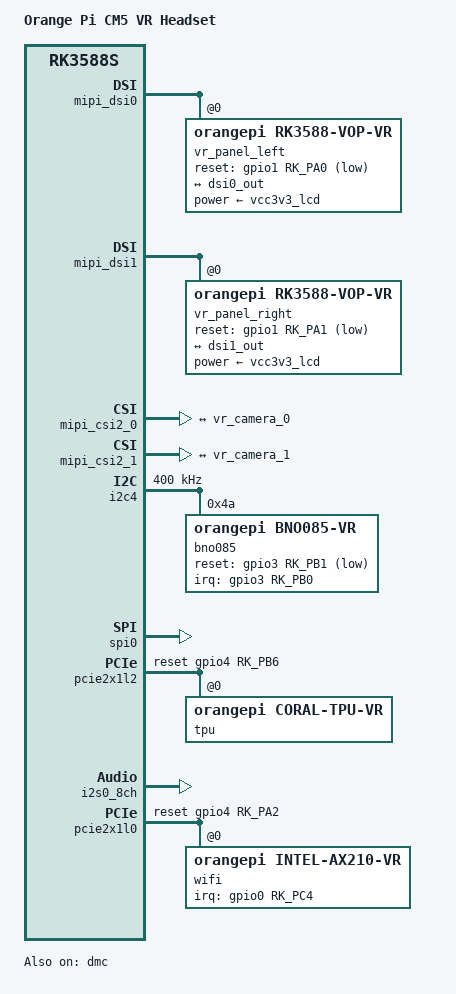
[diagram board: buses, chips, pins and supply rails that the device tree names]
// SPDX-License-Identifier: (GPL-2.0+ OR MIT)
/*
 * Copyright (c) 2025 VR Headset Project
 * Based on Orange Pi CM5 device tree
 */

#include "rk3588s-orangepi-cm5.dtsi"

/ {
    model = "Orange Pi CM5 VR Headset";
    compatible = "orangepi,cm5-vr", "rockchip,rk3588s";

    // VR-specific memory reservations
    reserved-memory {
        #address-cells = <2>;
        #size-cells = <2>;
        ranges;

        // TPU DMA buffer
        tpu_reserved: tpu@f0000000 {
            reg = <0x0 0xf0000000 0x0 0x08000000>; // 128MB
            no-map;
        };

        // Camera frame buffers
        camera_reserved: camera@f8000000 {
            reg = <0x0 0xf8000000 0x0 0x04000000>; // 64MB
            no-map;
        };
    };

    // VR display configuration
    vr_displays {
        compatible = "vr,dual-display";
        display-left = <&mipi_dsi0>;
        display-right = <&mipi_dsi1>;
        sync-mode = "master-slave";
    };
};

// Configure MIPI DSI for dual displays
&mipi_dsi0 {
    status = "okay";
    #address-cells = <1>;
    #size-cells = <0>;

    vr_panel_left: panel@0 {
        compatible = "orangepi,rk3588-vop-vr";
        reg = <0>;
        reset-gpios = <&gpio1 RK_PA0 GPIO_ACTIVE_LOW>;
        power-supply = <&vcc3v3_lcd>;
        
        port {
            panel_left_in: endpoint {
                remote-endpoint = <&dsi0_out>;
            };
        };
    };
};

&mipi_dsi1 {
    status = "okay";
    #address-cells = <1>;
    #size-cells = <0>;

    vr_panel_right: panel@0 {
        compatible = "orangepi,rk3588-vop-vr";
        reg = <0>;
        reset-gpios = <&gpio1 RK_PA1 GPIO_ACTIVE_LOW>;
        power-supply = <&vcc3v3_lcd>;
        
        port {
            panel_right_in: endpoint {
                remote-endpoint = <&dsi1_out>;
            };
        };
    };
};

// Camera interfaces
&mipi_csi2_0 {
    status = "okay";
    ports {
        port@1 {
            reg = <1>;
            csi2_0_out: endpoint {
                remote-endpoint = <&vr_camera_0>;
                data-lanes = <1 2>;
            };
        };
    };
};

&mipi_csi2_1 {
    status = "okay";
    ports {
        port@1 {
            reg = <1>;
            csi2_1_out: endpoint {
                remote-endpoint = <&vr_camera_1>;
                data-lanes = <1 2>;
            };
        };
    };
};

// I2C for IMU and other sensors
&i2c4 {
    status = "okay";
    clock-frequency = <400000>;

    bno085: imu@4a {
        compatible = "orangepi,bno085-vr";
        reg = <0x4a>;
        interrupt-parent = <&gpio3>;
        interrupts = <RK_PB0 IRQ_TYPE_EDGE_FALLING>;
        reset-gpios = <&gpio3 RK_PB1 GPIO_ACTIVE_LOW>;
        vr,mode-enabled;
        vr,sampling-rate-hz = <1000>;
    };
};

// SPI for high-speed sensors if needed
&spi0 {
    status = "okay";
    max-freq = <48000000>;
    
    // Additional sensors can be added here
};

// PCIe for Coral TPU (M.2 interface)
&pcie2x1l2 {
    status = "okay";
    reset-gpios = <&gpio4 RK_PB6 GPIO_ACTIVE_HIGH>;
    vpcie-supply = <&vcc3v3_pcie20>;
    
    pcie@0 {
        reg = <0x00000000 0 0 0 0>;
        #address-cells = <3>;
        #size-cells = <2>;
        
        tpu@0,0 {
            compatible = "orangepi,coral-tpu-vr";
            reg = <0x000000 0 0 0 0>;
            memory-region = <&tpu_reserved>;
            vr,mode-enabled;
            vr,latency-target-ms = <5>;
            vr,buffer-size-kb = <4096>;
            vr,zero-copy-enabled;
            vr,performance-mode;
            vr,inference-priority = <90>;
        };
    };
};

// Audio configuration
&i2s0_8ch {
    status = "okay";
    rockchip,playback-channels = <2>;
    rockchip,capture-channels = <4>; // 4-mic array
};

// Power management
&rk806_single {
    // VR-specific power rail configuration
    vcc_3v3_lcd: PLDO_REG2 {
        regulator-always-on;
        regulator-boot-on;
        regulator-min-microvolt = <3300000>;
        regulator-max-microvolt = <3300000>;
        regulator-name = "vcc_3v3_lcd";
    };
};

// Camera nodes
vr_camera_0: vr-camera@0 {
    compatible = "orangepi,ov9281-vr";
    reg = <0x60>;
    clocks = <&cru CLK_MIPI_CAMARAOUT_M1>;
    clock-names = "xvclk";
    power-domains = <&power RK3588_PD_VI>;
    pinctrl-names = "default";
    pinctrl-0 = <&mipim1_camera1_clk>;
    reset-gpios = <&gpio1 RK_PB2 GPIO_ACTIVE_LOW>;
    pwdn-gpios = <&gpio1 RK_PB3 GPIO_ACTIVE_HIGH>;
    rockchip,camera-module-index = <0>;
    rockchip,camera-module-facing = "front";
    rockchip,camera-module-name = "VR-Camera-Left";
    rockchip,camera-module-lens-name = "VR-Lens";
    vr,mode-enabled;
    vr,frame-rate = <90>;
    vr,exposure-time-us = <5000>;
    vr,zero-copy-enabled;
    port {
        vr_camera_0_out: endpoint {
            remote-endpoint = <&csi2_0_out>;
            data-lanes = <1 2>;
        };
    };
};

vr_camera_1: vr-camera@1 {
    compatible = "orangepi,ov9281-vr";
    reg = <0x61>;
    clocks = <&cru CLK_MIPI_CAMARAOUT_M2>;
    clock-names = "xvclk";
    power-domains = <&power RK3588_PD_VI>;
    pinctrl-names = "default";
    pinctrl-0 = <&mipim2_camera1_clk>;
    reset-gpios = <&gpio1 RK_PB4 GPIO_ACTIVE_LOW>;
    pwdn-gpios = <&gpio1 RK_PB5 GPIO_ACTIVE_HIGH>;
    rockchip,camera-module-index = <1>;
    rockchip,camera-module-facing = "front";
    rockchip,camera-module-name = "VR-Camera-Right";
    rockchip,camera-module-lens-name = "VR-Lens";
    vr,mode-enabled;
    vr,frame-rate = <90>;
    vr,exposure-time-us = <5000>;
    vr,zero-copy-enabled;
    port {
        vr_camera_1_out: endpoint {
            remote-endpoint = <&csi2_1_out>;
            data-lanes = <1 2>;
        };
    };
};

// WiFi configuration
&pcie2x1l0 {
    status = "okay";
    reset-gpios = <&gpio4 RK_PA2 GPIO_ACTIVE_HIGH>;
    vpcie-supply = <&vcc3v3_pcie20>;
    
    pcie@0 {
        reg = <0x00000000 0 0 0 0>;
        #address-cells = <3>;
        #size-cells = <2>;
        
        wifi@0,0 {
            compatible = "orangepi,intel-ax210-vr";
            reg = <0x000000 0 0 0 0>;
            interrupt-parent = <&gpio0>;
            interrupts = <RK_PC4 IRQ_TYPE_LEVEL_HIGH>;
            vr,mode-enabled;
            vr,traffic-priority = <6>;
            vr,latency-target-us = <10000>;
            vr,bandwidth-target-kbps = <20000>;
            vr,tx-retry-limit = <2>;
            vr,aggregation-limit = <8>;
        };
    };
};

// CPU isolation for real-time VR processing
&cpu_l0 {
    cpu-supply = <&vdd_cpu_lit_s0>;
    operating-points-v2 = <&cluster0_opp>;
    dynamic-power-coefficient = <100>;
    capacity-dmips-mhz = <530>;
    // Isolate for VR real-time processing
    vr-isolated;
};

&cpu_l1 {
    cpu-supply = <&vdd_cpu_lit_s0>;
    operating-points-v2 = <&cluster0_opp>;
    dynamic-power-coefficient = <100>;
    capacity-dmips-mhz = <530>;
    // Isolate for VR real-time processing
    vr-isolated;
};

// Memory configuration for 16GB
&dmc {
    status = "okay";
    center-supply = <&vdd_ddr_s0>;
    mem-supply = <&vdd_log_s0>;
    
    // 16GB memory configuration
    rockchip,ddr-frequency = <1056000000>;
    rockchip,pd-idle-ns = <160>;
    rockchip,sr-idle-ns = <10240>;
    rockchip,sr-mc-gate-idle-ns = <40960>;
    rockchip,vr-mode;
};
